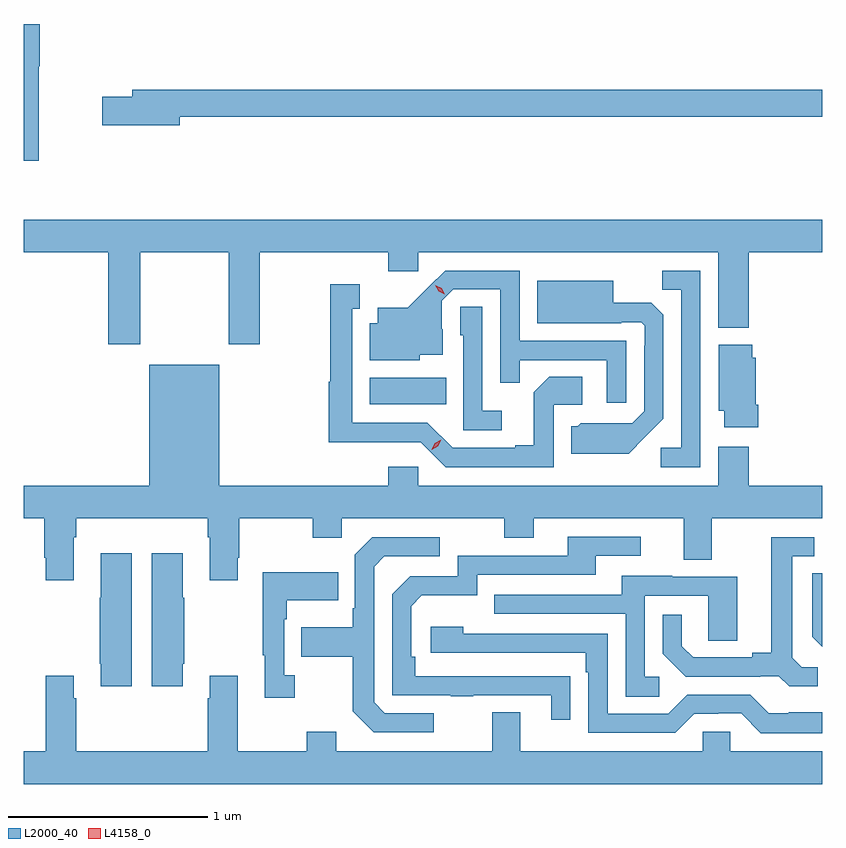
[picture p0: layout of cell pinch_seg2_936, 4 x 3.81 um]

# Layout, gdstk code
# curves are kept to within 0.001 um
import gdstk
lib = gdstk.Library(unit=1e-6, precision=1e-09)
def R(c, l, rs):  # rectangles x0, y0, x1, y1
    for r in rs: c.add(gdstk.rectangle(r[:2], r[2:], *l))
def P(c, l, *ps):  # polygons
    for p in ps: c.add(gdstk.Polygon(p, *l))
L2000_40 = (2000, 40)
L4158_0 = (4158, 0)

pinch_seg2_936 = lib.new_cell('pinch_seg2_936')
R(pinch_seg2_936, L2000_40, [(329.624,630.89,330.008,631.024)])
P(pinch_seg2_936, L2000_40, [(327.964,632.584),(327.971,632.584),(327.971,632.797),(327.891,632.797),(327.891,632.112),(327.964,632.112)],
  [(328.672,632.332),(331.891,632.332),(331.891,632.468),(328.433,632.468),(328.433,632.432),(328.284,632.432),(328.284,632.29),(328.672,632.29)],
  [(327.891,631.652),(328.313,631.652),(328.313,631.191),(328.473,631.191),(328.473,631.652),(328.918,631.652),(328.918,631.191),(329.073,631.191),(329.073,631.652),(329.717,631.652),(329.717,631.557),(329.868,631.557),(329.868,631.652),(331.37,631.652),(331.37,631.274),(331.523,631.274),(331.523,631.652),(331.891,631.652),(331.891,631.816),(327.891,631.816)],
  [(330.909,631.209),(330.375,631.209),(330.375,631.56),(330.002,631.56),(329.815,631.375),(329.663,631.375),(329.663,631.297),(329.624,631.297),(329.624,631.112),(329.874,631.112),(329.874,631.139),(329.989,631.139),(329.989,631.268),(329.985,631.268),(329.985,631.41),(330.042,631.467),(330.279,631.467),(330.279,631),(330.377,631),(330.377,631.113),(330.813,631.113),(330.813,630.9),(330.909,630.9)],
  [(331.281,631.56),(331.09,631.56),(331.09,631.465),(331.185,631.465),(331.185,630.672),(331.083,630.672),(331.083,630.576),(331.281,630.576)],
  [(331.003,630.725),(331.095,630.818),(331.095,631.34),(331.036,631.399),(330.844,631.399),(330.844,631.51),(330.464,631.51),(330.464,631.298),(330.884,631.298),(330.884,631.302),(330.984,631.302),(331.002,631.284),(331.002,631.184),(330.999,631.184),(330.999,630.855),(330.939,630.795),(330.682,630.796),(330.666,630.78),(330.635,630.78),(330.635,630.644),(330.923,630.644)],
  [(330.546,630.888),(330.688,630.888),(330.688,631.028),(330.523,631.028),(330.447,630.952),(330.447,630.685),(330.353,630.685),(330.353,630.672),(330.039,630.672),(329.913,630.798),(329.536,630.798),(329.536,631.371),(329.575,631.371),(329.575,631.492),(329.425,631.492),(329.425,631.005),(329.418,631.005),(329.418,630.701),(329.88,630.702),(330.006,630.576),(330.546,630.576)],
  [(330.286,630.859),(330.189,630.859),(330.189,631.379),(330.078,631.379),(330.078,631.236),(330.093,631.236),(330.093,630.762),(330.286,630.762)],
  [(331.571,630.889),(331.558,630.889),(331.558,631.125),(331.54,631.125),(331.54,631.189),(331.373,631.189),(331.373,630.858),(331.4,630.858),(331.4,630.777),(331.571,630.777)],
  [(328.141,630.224),(328.154,630.224),(328.154,630.32),(328.811,630.32),(328.811,630.224),(328.823,630.224),(328.823,630.009),(328.963,630.009),(328.963,630.121),(328.971,630.121),(328.971,630.32),(329.338,630.32),(329.338,630.221),(329.484,630.221),(329.484,630.32),(330.298,630.32),(330.298,630.221),(330.445,630.221),(330.445,630.32),(331.199,630.32),(331.199,630.112),(331.339,630.112),(331.339,630.32),(331.891,630.32),(331.891,630.484),(331.523,630.484),(331.523,630.679),(331.37,630.679),(331.37,630.484),(329.868,630.484),(329.868,630.577),(329.717,630.577),(329.717,630.484),(328.87,630.484),(328.87,631.09),(328.52,631.09),(328.52,630.484),(327.891,630.484),(327.891,630.32),(327.994,630.32),(327.994,630.121),(328.001,630.121),(328.001,630.009),(328.141,630.009)],
  [(330.629,629.528),(329.852,629.529),(329.852,629.626),(329.832,629.626),(329.832,629.88),(329.885,629.933),(330.162,629.933),(330.162,630.036),(330.757,630.036),(330.757,630.132),(330.982,630.132),(330.982,630.228),(330.617,630.228),(330.617,630.132),(330.066,630.132),(330.066,630.03),(329.826,630.03),(329.736,629.94),(329.736,629.433),(330.031,629.433),(330.031,629.428),(330.143,629.428),(330.143,629.433),(330.533,629.433),(330.533,629.31),(330.629,629.31)],
  [(331.87,629.574),(331.788,629.574),(331.741,629.621),(331.741,630.129),(331.852,630.129),(331.852,630.225),(331.637,630.225),(331.637,629.645),(331.541,629.645),(331.541,629.622),(331.246,629.622),(331.189,629.679),(331.189,629.836),(331.092,629.836),(331.092,629.642),(331.208,629.526),(331.58,629.526),(331.58,629.529),(331.674,629.529),(331.726,629.477),(331.87,629.477)],
  [(329.944,629.343),(329.7,629.343),(329.646,629.397),(329.646,630.078),(329.697,630.129),(329.974,630.129),(329.974,630.225),(329.637,630.225),(329.55,630.138),(329.55,629.869),(329.538,629.869),(329.538,629.773),(329.281,629.773),(329.281,629.626),(329.538,629.626),(329.538,629.353),(329.643,629.247),(329.944,629.247)],
  [(328.432,630.145),(328.277,630.145),(328.277,629.921),(328.27,629.921),(328.27,629.59),(328.277,629.59),(328.277,629.478),(328.432,629.478)],
  [(328.687,629.59),(328.695,629.59),(328.695,629.921),(328.687,629.921),(328.687,630.145),(328.532,630.145),(328.532,629.478),(328.687,629.478)],
  [(329.248,629.534),(329.196,629.534),(329.196,629.813),(329.209,629.813),(329.209,629.909),(329.465,629.909),(329.465,630.049),(329.088,630.049),(329.088,629.633),(329.099,629.633),(329.099,629.421),(329.248,629.421)],
  [(331.891,630.044),(331.842,630.044),(331.842,629.726),(331.891,629.677)],
  [(331.075,629.526),(331.002,629.526),(331.002,629.931),(331.32,629.931),(331.32,629.707),(331.465,629.707),(331.465,630.027),(331.141,630.027),(331.141,630.031),(330.887,630.031),(330.887,629.937),(330.247,629.937),(330.247,629.841),(330.906,629.841),(330.906,629.425),(331.075,629.425)],
  [(331.891,629.347),(331.723,629.347),(331.723,629.343),(331.623,629.343),(331.53,629.436),(331.215,629.436),(331.119,629.34),(330.816,629.34),(330.816,629.742),(330.092,629.742),(330.092,629.776),(329.931,629.776),(329.931,629.646),(330.707,629.646),(330.707,629.549),(330.72,629.549),(330.72,629.244),(331.155,629.244),(331.251,629.34),(331.37,629.34),(331.37,629.343),(331.485,629.343),(331.585,629.243),(331.891,629.243)],
  [(331.891,629.152),(331.431,629.152),(331.431,629.25),(331.293,629.25),(331.293,629.152),(330.379,629.152),(330.379,629.347),(330.239,629.347),(330.239,629.152),(329.455,629.152),(329.455,629.251),(329.308,629.251),(329.308,629.152),(328.963,629.152),(328.963,629.53),(328.823,629.53),(328.823,629.417),(328.811,629.417),(328.811,629.152),(328.154,629.152),(328.154,629.417),(328.141,629.417),(328.141,629.53),(328.001,629.53),(328.001,629.152),(327.891,629.152),(327.891,628.988),(331.891,628.988)])
P(pinch_seg2_936, L4158_0, [(330.001,631.442),(329.97,631.457),(329.952,631.487),(329.952,631.487),(329.953,631.487),(329.984,631.472),(330.001,631.443),(330.001,631.442)],
  [(329.934,630.663),(329.934,630.663),(329.951,630.696),(329.983,630.714),(329.983,630.714),(329.983,630.714),(329.966,630.682),(329.934,630.663)])

lib.write_gds('pinch_seg2_936.gds')
